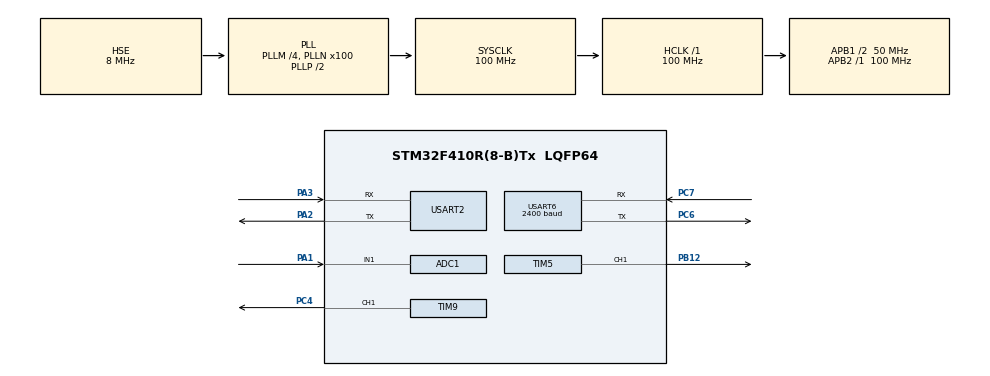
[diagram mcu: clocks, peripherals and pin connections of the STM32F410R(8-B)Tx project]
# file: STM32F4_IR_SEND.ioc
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ADC1.Channel-1\#ChannelRegularConversion=ADC_CHANNEL_1
ADC1.ContinuousConvMode=ENABLE
ADC1.NbrOfConversionFlag=1
ADC1.Rank-1\#ChannelRegularConversion=1
ADC1.SamplingTime-1\#ChannelRegularConversion=ADC_SAMPLETIME_3CYCLES
ADC1.master=1
Mcu.Family=STM32F4
Mcu.Name=STM32F410R(8-B)Tx
Mcu.Package=LQFP64
NVIC.PriorityGroup=NVIC_PRIORITYGROUP_4
PA1.Signal=ADCx_IN1
PA13.Mode=Serial_Wire
PA13.Signal=SYS_JTMS-SWDIO
PA14.Mode=Serial_Wire
PA14.Signal=SYS_JTCK-SWCLK
PA2.Mode=Asynchronous
PA2.Signal=USART2_TX
PA3.Mode=Asynchronous
PA3.Signal=USART2_RX
PB12.Signal=S_TIM5_CH1
PC14-OSC32_IN.Mode=LSE-External-Oscillator
PC14-OSC32_IN.Signal=RCC_OSC32_IN
PC15-OSC32_OUT.Mode=LSE-External-Oscillator
PC15-OSC32_OUT.Signal=RCC_OSC32_OUT
PC4.Signal=S_TIM9_CH1
PC6.Mode=Asynchronous
PC6.Signal=USART6_TX
PC7.Mode=Asynchronous
PC7.Signal=USART6_RX
PH0\ -\ OSC_IN.Mode=HSE-External-Oscillator
PH0\ -\ OSC_IN.Signal=RCC_OSC_IN
PH1\ -\ OSC_OUT.Mode=HSE-External-Oscillator
PH1\ -\ OSC_OUT.Signal=RCC_OSC_OUT
ProjectManager.HeapSize=0x200
ProjectManager.StackSize=0x400
ProjectManager.TargetToolchain=SW4STM32
RCC.48MHZClocksFreq_Value=50000000
RCC.AHBFreq_Value=100000000
RCC.APB1CLKDivider=RCC_HCLK_DIV2
RCC.APB1Freq_Value=50000000
RCC.APB1TimFreq_Value=100000000
RCC.APB2Freq_Value=100000000
RCC.APB2TimFreq_Value=100000000
RCC.CortexFreq_Value=100000000
RCC.HCLKFreq_Value=100000000
RCC.HSE_VALUE=8000000
RCC.HSI_VALUE=16000000
RCC.PLLM=4
RCC.PLLN=100
RCC.PLLSourceVirtual=RCC_PLLSOURCE_HSE
RCC.SYSCLKFreq_VALUE=100000000
RCC.SYSCLKSource=RCC_SYSCLKSOURCE_PLLCLK
RCC.VCOOutputFreq_Value=200000000
SH.ADCx_IN1.0=ADC1_IN1,IN1
SH.S_TIM5_CH1.0=TIM5_CH1,PWM Generation1 CH1
SH.S_TIM9_CH1.0=TIM9_CH1,PWM Generation1 CH1
TIM5.AutoReloadPreload=TIM_AUTORELOAD_PRELOAD_ENABLE
TIM5.Channel-PWM\ Generation1\ CH1=TIM_CHANNEL_1
TIM5.Period=2630
TIM9.AutoReloadPreload=TIM_AUTORELOAD_PRELOAD_DISABLE
TIM9.Channel-PWM\ Generation1\ CH1=TIM_CHANNEL_1
TIM9.Period=6666
TIM9.Prescaler=0
TIM9.Pulse-PWM\ Generation1\ CH1=0
USART2.VirtualMode=VM_ASYNC
USART6.BaudRate=2400
USART6.VirtualMode=VM_ASYNC
VP_TIM5_VS_ClockSourceINT.Mode=Internal
VP_TIM9_VS_ClockSourceINT.Mode=Internal
board=custom

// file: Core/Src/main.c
/* USER CODE BEGIN Header */
/**
  ******************************************************************************
  * @file           : main.c
  * @brief          : Main program body
  ******************************************************************************
  * @attention
  *
  * <h2><center>&copy; Copyright (c) 2021 STMicroelectronics.
  * All rights reserved.</center></h2>
  *
  * This software component is licensed by ST under BSD 3-Clause license,
  * the "License"; You may not use this file except in compliance with the
  * License. You may obtain a copy of the License at:
  *                        opensource.org/licenses/BSD-3-Clause
  *
  ******************************************************************************
  */
/* USER CODE END Header */
#include "main.h"

ADC_HandleTypeDef hadc1;

TIM_HandleTypeDef htim5;
TIM_HandleTypeDef htim9;

UART_HandleTypeDef huart2;
UART_HandleTypeDef huart6;

void SystemClock_Config(void);
static void MX_GPIO_Init(void);
static void MX_TIM5_Init(void);
static void MX_USART6_UART_Init(void);
static void MX_TIM9_Init(void);
static void MX_ADC1_Init(void);
static void MX_USART2_UART_Init(void);

/* USER CODE BEGIN 0 */
#include <errno.h>
#include <sys/stat.h>
#include <sys/times.h>
#include <sys/unistd.h>

int _write(int file, char *ptr, int len) {
    HAL_StatusTypeDef xStatus;
    switch (file) {
    case STDOUT_FILENO: /*stdout*/
		xStatus = HAL_UART_Transmit(&huart2, (uint8_t*)ptr, len, HAL_MAX_DELAY);
		if (xStatus != HAL_OK) {
			errno = EIO;
			return -1;
		}
        break;
    case STDERR_FILENO: /* stderr */
		xStatus = HAL_UART_Transmit(&huart2, (uint8_t*)ptr, len, HAL_MAX_DELAY);
		if (xStatus != HAL_OK) {
			errno = EIO;
			return -1;
		}
        break;
    default:
        errno = EBADF;
        return -1;
    }
    return len;
}

/* werkt alleen als de Timer clock op 100MHz staat
 * alleen op Timer 9 in de huidige STM32F4 */
void ToneTim9( uint16_t frequency, uint8_t prescaler, uint8_t volume )
{
	uint16_t ARR;
	uint8_t CCR;
	ARR = ((100000000)/((prescaler + 1) * frequency)) - 1;
	TIM9->ARR = ARR;
	TIM9->PSC = prescaler;
	CCR = (float) volume / 100;
	CCR = (uint8_t) ARR * CCR;
	TIM9->CCR1 = ARR/2;
}
/* USER CODE END 0 */

int main(void)
{

  /* MCU Configuration--------------------------------------------------------*/

  /* Reset of all peripherals, Initializes the Flash interface and the Systick. */
  HAL_Init();

  /* Configure the system clock */
  SystemClock_Config();

  /* Initialize all configured peripherals */
  MX_GPIO_Init();
  MX_TIM5_Init();
  MX_USART6_UART_Init();
  MX_TIM9_Init();
  MX_ADC1_Init();
  MX_USART2_UART_Init();
  /* USER CODE BEGIN 2 */

  printf("begin van de code\r\n");

  /* USER CODE END 2 */

  /* Infinite loop */
  while (1)
  {

    /* USER CODE BEGIN 3 */
	  uint16_t value;

	  HAL_ADC_Start(&hadc1);
	  HAL_ADC_PollForConversion(&hadc1,100);
	  value = HAL_ADC_GetValue(&hadc1);
	  printf("waarde = %d \r\n", value);
	  HAL_ADC_Stop(&hadc1);

	  HAL_Delay(1000);
  }
  /* USER CODE END 3 */
}

void SystemClock_Config(void)
{
  RCC_OscInitTypeDef RCC_OscInitStruct = {0};
  RCC_ClkInitTypeDef RCC_ClkInitStruct = {0};

  /** Configure the main internal regulator output voltage
  */
  __HAL_RCC_PWR_CLK_ENABLE();
  __HAL_PWR_VOLTAGESCALING_CONFIG(PWR_REGULATOR_VOLTAGE_SCALE1);
  /** Initializes the RCC Oscillators according to the specified parameters
  * in the RCC_OscInitTypeDef structure.
  */
  RCC_OscInitStruct.OscillatorType = RCC_OSCILLATORTYPE_HSE;
  RCC_OscInitStruct.HSEState = RCC_HSE_ON;
  RCC_OscInitStruct.PLL.PLLState = RCC_PLL_ON;
  RCC_OscInitStruct.PLL.PLLSource = RCC_PLLSOURCE_HSE;
  RCC_OscInitStruct.PLL.PLLM = 4;
  RCC_OscInitStruct.PLL.PLLN = 100;
  RCC_OscInitStruct.PLL.PLLP = RCC_PLLP_DIV2;
  RCC_OscInitStruct.PLL.PLLQ = 4;
  RCC_OscInitStruct.PLL.PLLR = 2;
  if (HAL_RCC_OscConfig(&RCC_OscInitStruct) != HAL_OK)
  {
    Error_Handler();
  }
  /** Initializes the CPU, AHB and APB buses clocks
  */
  RCC_ClkInitStruct.ClockType = RCC_CLOCKTYPE_HCLK|RCC_CLOCKTYPE_SYSCLK
                              |RCC_CLOCKTYPE_PCLK1|RCC_CLOCKTYPE_PCLK2;
  RCC_ClkInitStruct.SYSCLKSource = RCC_SYSCLKSOURCE_PLLCLK;
  RCC_ClkInitStruct.AHBCLKDivider = RCC_SYSCLK_DIV1;
  RCC_ClkInitStruct.APB1CLKDivider = RCC_HCLK_DIV2;
  RCC_ClkInitStruct.APB2CLKDivider = RCC_HCLK_DIV1;

  if (HAL_RCC_ClockConfig(&RCC_ClkInitStruct, FLASH_LATENCY_3) != HAL_OK)
  {
    Error_Handler();
  }
}

static void MX_ADC1_Init(void)
{

  ADC_ChannelConfTypeDef sConfig = {0};

  /** Configure the global features of the ADC (Clock, Resolution, Data Alignment and number of conversion)
  */
  hadc1.Instance = ADC1;
  hadc1.Init.ClockPrescaler = ADC_CLOCK_SYNC_PCLK_DIV4;
  hadc1.Init.Resolution = ADC_RESOLUTION_12B;
  hadc1.Init.ScanConvMode = DISABLE;
  hadc1.Init.ContinuousConvMode = ENABLE;
  hadc1.Init.DiscontinuousConvMode = DISABLE;
  hadc1.Init.ExternalTrigConvEdge = ADC_EXTERNALTRIGCONVEDGE_NONE;
  hadc1.Init.ExternalTrigConv = ADC_SOFTWARE_START;
  hadc1.Init.DataAlign = ADC_DATAALIGN_RIGHT;
  hadc1.Init.NbrOfConversion = 1;
  hadc1.Init.DMAContinuousRequests = DISABLE;
  hadc1.Init.EOCSelection = ADC_EOC_SINGLE_CONV;
  if (HAL_ADC_Init(&hadc1) != HAL_OK)
  {
    Error_Handler();
  }
  /** Configure for the selected ADC regular channel its corresponding rank in the sequencer and its sample time.
  */
  sConfig.Channel = ADC_CHANNEL_1;
  sConfig.Rank = 1;
  sConfig.SamplingTime = ADC_SAMPLETIME_3CYCLES;
  if (HAL_ADC_ConfigChannel(&hadc1, &sConfig) != HAL_OK)
  {
    Error_Handler();
  }

}

static void MX_TIM5_Init(void)
{

  TIM_ClockConfigTypeDef sClockSourceConfig = {0};
  TIM_MasterConfigTypeDef sMasterConfig = {0};
  TIM_OC_InitTypeDef sConfigOC = {0};

  htim5.Instance = TIM5;
  htim5.Init.Prescaler = 0;
  htim5.Init.CounterMode = TIM_COUNTERMODE_UP;
  htim5.Init.Period = 2630;
  htim5.Init.ClockDivision = TIM_CLOCKDIVISION_DIV1;
  htim5.Init.AutoReloadPreload = TIM_AUTORELOAD_PRELOAD_ENABLE;
  if (HAL_TIM_Base_Init(&htim5) != HAL_OK)
  {
    Error_Handler();
  }
  sClockSourceConfig.ClockSource = TIM_CLOCKSOURCE_INTERNAL;
  if (HAL_TIM_ConfigClockSource(&htim5, &sClockSourceConfig) != HAL_OK)
  {
    Error_Handler();
  }
  if (HAL_TIM_PWM_Init(&htim5) != HAL_OK)
  {
    Error_Handler();
  }
  sMasterConfig.MasterOutputTrigger = TIM_TRGO_RESET;
  sMasterConfig.MasterSlaveMode = TIM_MASTERSLAVEMODE_DISABLE;
  if (HAL_TIMEx_MasterConfigSynchronization(&htim5, &sMasterConfig) != HAL_OK)
  {
    Error_Handler();
  }
  sConfigOC.OCMode = TIM_OCMODE_PWM1;
  sConfigOC.Pulse = 0;
  sConfigOC.OCPolarity = TIM_OCPOLARITY_HIGH;
  sConfigOC.OCFastMode = TIM_OCFAST_DISABLE;
  if (HAL_TIM_PWM_ConfigChannel(&htim5, &sConfigOC, TIM_CHANNEL_1) != HAL_OK)
  {
    Error_Handler();
  }
  HAL_TIM_MspPostInit(&htim5);

}

static void MX_TIM9_Init(void)
{

  TIM_ClockConfigTypeDef sClockSourceConfig = {0};
  TIM_OC_InitTypeDef sConfigOC = {0};

  htim9.Instance = TIM9;
  htim9.Init.Prescaler = 0;
  htim9.Init.CounterMode = TIM_COUNTERMODE_UP;
  htim9.Init.Period = 6666;
  htim9.Init.ClockDivision = TIM_CLOCKDIVISION_DIV1;
  htim9.Init.AutoReloadPreload = TIM_AUTORELOAD_PRELOAD_DISABLE;
  if (HAL_TIM_Base_Init(&htim9) != HAL_OK)
  {
    Error_Handler();
  }
  sClockSourceConfig.ClockSource = TIM_CLOCKSOURCE_INTERNAL;
  if (HAL_TIM_ConfigClockSource(&htim9, &sClockSourceConfig) != HAL_OK)
  {
    Error_Handler();
  }
  if (HAL_TIM_PWM_Init(&htim9) != HAL_OK)
  {
    Error_Handler();
  }
  sConfigOC.OCMode = TIM_OCMODE_PWM1;
  sConfigOC.Pulse = 0;
  sConfigOC.OCPolarity = TIM_OCPOLARITY_HIGH;
  sConfigOC.OCFastMode = TIM_OCFAST_DISABLE;
  if (HAL_TIM_PWM_ConfigChannel(&htim9, &sConfigOC, TIM_CHANNEL_1) != HAL_OK)
  {
    Error_Handler();
  }
  HAL_TIM_MspPostInit(&htim9);

}

static void MX_USART2_UART_Init(void)
{

  huart2.Instance = USART2;
  huart2.Init.BaudRate = 115200;
  huart2.Init.WordLength = UART_WORDLENGTH_8B;
  huart2.Init.StopBits = UART_STOPBITS_1;
  huart2.Init.Parity = UART_PARITY_NONE;
  huart2.Init.Mode = UART_MODE_TX_RX;
  huart2.Init.HwFlowCtl = UART_HWCONTROL_NONE;
  huart2.Init.OverSampling = UART_OVERSAMPLING_16;
  if (HAL_UART_Init(&huart2) != HAL_OK)
  {
    Error_Handler();
  }

}

static void MX_USART6_UART_Init(void)
{

  huart6.Instance = USART6;
  huart6.Init.BaudRate = 2400;
  huart6.Init.WordLength = UART_WORDLENGTH_8B;
  huart6.Init.StopBits = UART_STOPBITS_1;
  huart6.Init.Parity = UART_PARITY_NONE;
  huart6.Init.Mode = UART_MODE_TX_RX;
  huart6.Init.HwFlowCtl = UART_HWCONTROL_NONE;
  huart6.Init.OverSampling = UART_OVERSAMPLING_16;
  if (HAL_UART_Init(&huart6) != HAL_OK)
  {
    Error_Handler();
  }

}

static void MX_GPIO_Init(void)
{

  /* GPIO Ports Clock Enable */
  __HAL_RCC_GPIOC_CLK_ENABLE();
  __HAL_RCC_GPIOH_CLK_ENABLE();
  __HAL_RCC_GPIOA_CLK_ENABLE();
  __HAL_RCC_GPIOB_CLK_ENABLE();

}

void Error_Handler(void)
{
}

/************************ (C) COPYRIGHT STMicroelectronics *****END OF FILE****/
